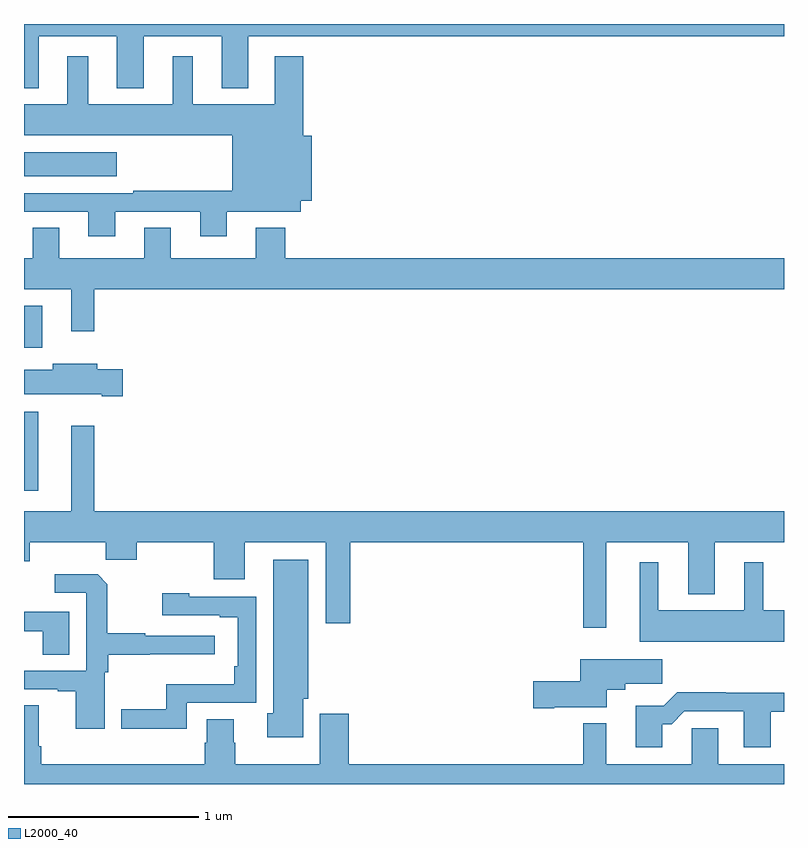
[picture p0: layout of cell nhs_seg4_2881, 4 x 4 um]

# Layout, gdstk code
import gdstk
lib = gdstk.Library(unit=1e-6, precision=1e-09)
def R(c, l, rs):  # rectangles x0, y0, x1, y1
    for r in rs: c.add(gdstk.rectangle(r[:2], r[2:], *l))
def P(c, l, *ps):  # polygons
    for p in ps: c.add(gdstk.Polygon(p, *l))
L2000_40 = (2000, 40)

nhs_seg4_2881 = lib.new_cell('nhs_seg4_2881')
R(nhs_seg4_2881, L2000_40, [(263,778.443,263.074,778.858), (263,779.195,263.095,779.416), (263,780.098,263.488,780.226)])
P(nhs_seg4_2881, L2000_40, [(263,780.563),(263.077,780.563),(263.077,780.836),(263.489,780.836),(263.489,780.563),(263.629,780.563),(263.629,780.836),(264.041,780.836),(264.041,780.563),(264.181,780.563),(264.181,780.836),(267,780.836),(267,780.9),(263,780.9)],
  [(263.479,779.913),(263.927,779.913),(263.927,779.784),(264.067,779.784),(264.067,779.912),(264.457,779.912),(264.457,779.969),(264.514,779.969),(264.514,780.313),(264.47,780.313),(264.47,780.73),(264.32,780.73),(264.32,780.478),(263.887,780.478),(263.887,780.73),(263.783,780.73),(263.783,780.478),(263.338,780.478),(263.338,780.73),(263.228,780.73),(263.228,780.478),(263,780.478),(263,780.314),(264.095,780.314),(264.095,780.022),(263.575,780.022),(263.575,780.009),(263,780.009),(263,779.913),(263.339,779.913),(263.339,779.784),(263.479,779.784)],
  [(263.371,779.504),(267,779.504),(267,779.668),(264.374,779.668),(264.374,779.827),(264.221,779.827),(264.221,779.668),(263.773,779.668),(263.773,779.828),(263.633,779.828),(263.633,779.668),(263.185,779.668),(263.185,779.828),(263.045,779.828),(263.045,779.668),(263,779.668),(263,779.504),(263.249,779.504),(263.249,779.283),(263.371,779.283)],
  [(263.521,779.082),(263.386,779.082),(263.386,779.113),(263.15,779.113),(263.15,779.081),(263,779.081),(263,778.952),(263.408,778.952),(263.408,778.94),(263.521,778.94)],
  [(266.065,778.172),(266.495,778.172),(266.495,777.899),(266.635,777.899),(266.635,778.172),(267,778.172),(267,778.336),(263.371,778.336),(263.371,778.786),(263.249,778.786),(263.249,778.336),(263,778.336),(263,778.073),(263.029,778.073),(263.029,778.172),(263.429,778.172),(263.429,778.079),(263.593,778.079),(263.593,778.172),(263.999,778.172),(263.999,777.978),(264.163,777.978),(264.163,778.172),(264.587,778.172),(264.587,777.747),(264.716,777.747),(264.716,778.172),(265.944,778.172),(265.944,777.723),(266.065,777.723)],
  [(264.469,777.348),(264.496,777.348),(264.496,778.081),(264.311,778.081),(264.311,777.272),(264.281,777.272),(264.281,777.146),(264.469,777.146)],
  [(267,777.814),(266.89,777.814),(266.89,778.066),(266.792,778.066),(266.792,777.814),(266.338,777.814),(266.338,778.066),(266.24,778.066),(266.24,777.65),(267,777.65)],
  [(263.424,777.488),(263.444,777.488),(263.444,777.58),(263.663,777.58),(263.663,777.584),(264.004,777.584),(264.004,777.681),(263.639,777.681),(263.639,777.694),(263.439,777.694),(263.439,777.951),(263.387,778.003),(263.163,778.003),(263.163,777.906),(263.328,777.906),(263.328,777.495),(263,777.495),(263,777.399),(263.177,777.399),(263.177,777.387),(263.273,777.387),(263.273,777.192),(263.424,777.192)],
  [(263.856,777.327),(264.222,777.327),(264.222,777.885),(263.871,777.885),(263.871,777.904),(263.727,777.904),(263.727,777.789),(264.029,777.789),(264.029,777.777),(264.126,777.777),(264.126,777.52),(264.106,777.52),(264.106,777.424),(263.748,777.424),(263.748,777.293),(263.511,777.293),(263.511,777.191),(263.856,777.191)],
  [(263.239,777.806),(263,777.806),(263,777.705),(263.099,777.705),(263.099,777.58),(263.239,777.58)],
  [(265.792,777.305),(266.068,777.305),(266.068,777.395),(266.164,777.395),(266.164,777.427),(266.359,777.427),(266.359,777.556),(265.928,777.556),(265.928,777.44),(265.68,777.44),(265.68,777.298),(265.792,777.298)],
  [(266.359,777.215),(266.408,777.215),(266.475,777.282),(266.789,777.282),(266.789,777.093),(266.929,777.093),(266.929,777.279),(267,777.279),(267,777.38),(266.693,777.38),(266.693,777.383),(266.438,777.383),(266.368,777.313),(266.219,777.313),(266.219,777.093),(266.359,777.093)],
  [(267,777.004),(266.653,777.004),(266.653,777.194),(266.514,777.194),(266.514,777.004),(266.065,777.004),(266.065,777.22),(265.944,777.22),(265.944,777.004),(264.71,777.004),(264.71,777.271),(264.557,777.271),(264.557,777.004),(264.111,777.004),(264.111,777.117),(264.103,777.117),(264.103,777.242),(263.963,777.242),(263.963,777.117),(263.951,777.117),(263.951,777.004),(263.09,777.004),(263.09,777.1),(263.077,777.1),(263.077,777.314),(263,777.314),(263,776.9),(267,776.9)])

lib.write_gds('nhs_seg4_2881.gds')
